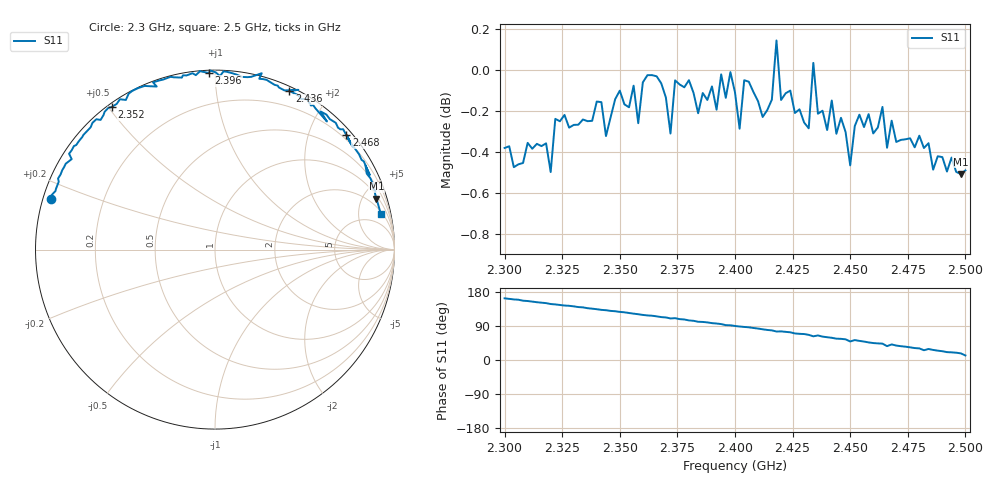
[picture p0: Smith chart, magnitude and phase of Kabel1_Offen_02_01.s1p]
# HZ S RI R 50
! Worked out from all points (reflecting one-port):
!   101 points, 2.3 GHz to 2.5 GHz, reference 50 ohm
!   lowest |S11| = -0.5 dB at 2.498 GHz (marker M1), VSWR 34.27, Z = 60.8 + j313 ohm
!   phase of S11 starts at 163 deg and turns -151 deg over the sweep
!   S11 on the Smith chart (normalised r, x): 2.3 GHz: 0.02, +0.15; 2.352 GHz: 0.01, +0.51; 2.396 GHz: 0.02, +0.97; 2.436 GHz: 0.04, +1.57; 2.468 GHz: 0.12, +2.66; 2.5 GHz: 2.40, +8.86
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2.3e9  -0.9141 0.284
2.326e9  -0.786 0.577
2.35e9  -0.5939 0.79
2.352e9  -0.5747 0.7948
2.362e9  -0.4625 0.8832
2.376e9  -0.3038 0.9441
2.396e9  -0.0337 0.9838
2.4e9  0.00388 0.9874
2.416e9  0.2018 0.9625
2.418e9  0.2603 0.9826
2.42e9  0.2465 0.9518
2.426e9  0.3321 0.9179
2.432e9  0.3876 0.8867
2.434e9  0.4643 0.89
2.436e9  0.4149 0.883
2.448e9  0.5595 0.7872
2.45e9  0.6234 0.7141
2.452e9  0.5891 0.7694
2.464e9  0.7138 0.6706
2.466e9  0.7688 0.5703
2.468e9  0.7316 0.6397
2.476e9  0.8028 0.5308
2.48e9  0.829 0.4915
2.482e9  0.8622 0.4157
2.484e9  0.8386 0.4668
2.492e9  0.883 0.3356
2.498e9  0.8996 0.2839
2.5e9  0.9245 0.1968
